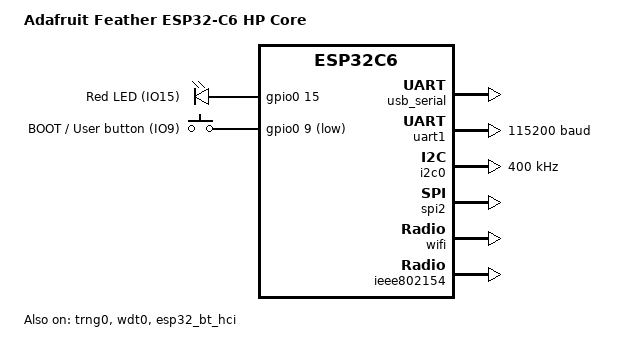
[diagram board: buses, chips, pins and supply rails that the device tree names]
/*
 * Copyright (c) 2026 Tim Boldt
 *
 * SPDX-License-Identifier: Apache-2.0
 */

/dts-v1/;

#include <espressif/esp32c6/esp32c6_wroom_n4.dtsi>
#include "adafruit_feather_esp32c6-pinctrl.dtsi"
#include "feather_connector.dtsi"
#include <zephyr/dt-bindings/input/input-event-codes.h>
#include <espressif/partitions_0x0_default.dtsi>

/ {
	model = "Adafruit Feather ESP32-C6 HP Core";
	compatible = "adafruit,feather-esp32c6", "espressif,esp32c6";

	chosen {
		zephyr,sram = &sramhp;
		/* Native USB-Serial/JTAG carries the console (plain USB-C cable). */
		zephyr,console = &usb_serial;
		zephyr,shell-uart = &usb_serial;
		zephyr,flash = &flash0;
		zephyr,code-partition = &slot0_partition;
		zephyr,ieee802154 = &ieee802154;
	};

	aliases {
		sw0 = &boot_button;
		led0 = &red_led;
		i2c-0 = &i2c0;
		watchdog0 = &wdt0;
	};

	leds {
		compatible = "gpio-leds";

		red_led: led_0 {
			gpios = <&gpio0 15 GPIO_ACTIVE_HIGH>;
			label = "Red LED (IO15)";
		};
	};

	gpio_keys {
		compatible = "gpio-keys";

		boot_button: button_0 {
			gpios = <&gpio0 9 (GPIO_PULL_UP | GPIO_ACTIVE_LOW)>;
			label = "BOOT / User button (IO9)";
			zephyr,code = <INPUT_KEY_0>;
		};
	};

	/*
	 * The STEMMA QT / Qwiic connector and the I2C pull-ups are fed by an
	 * on-board load switch on this board family. If I2C devices are missing
	 * at boot, wire this up (verify the enable GPIO against the schematic)
	 * and add `power-domains = <&i2c_reg>;` to the I2C child nodes:
	 *
	 * i2c_reg: i2c_reg {
	 *         compatible = "power-domain-gpio";
	 *         #power-domain-cells = <0>;
	 *         enable-gpios = <&gpio0 20 GPIO_ACTIVE_HIGH>;  // TODO: confirm pin
	 * };
	 */
};

&usb_serial {
	status = "okay";
};

/* Feather header UART (TX=IO16 / RX=IO17). Not the console. */
&uart1 {
	status = "okay";
	current-speed = <115200>;
	pinctrl-0 = <&uart1_default>;
	pinctrl-names = "default";
};

&i2c0 {
	status = "okay";
	clock-frequency = <I2C_BITRATE_FAST>;
	pinctrl-0 = <&i2c0_default>;
	pinctrl-names = "default";
};

&spi2 {
	#address-cells = <1>;
	#size-cells = <0>;
	status = "okay";
	pinctrl-0 = <&spim2_default>;
	pinctrl-names = "default";
	/*
	 * The 2.4" TFT FeatherWing puts the ILI9341 and the microSD slot on
	 * this bus with separate GPIO chip-selects. Declare them in the
	 * application overlay, e.g.:
	 *   cs-gpios = <&gpio0 X GPIO_ACTIVE_LOW>,   // TFT_CS
	 *              <&gpio0 Y GPIO_ACTIVE_LOW>;   // SD_CS
	 */
};

&gpio0 {
	status = "okay";
};

&trng0 {
	status = "okay";
};

&wdt0 {
	status = "okay";
};

&wifi {
	status = "okay";
};

&ieee802154 {
	status = "okay";
};

&esp32_bt_hci {
	status = "okay";
};
